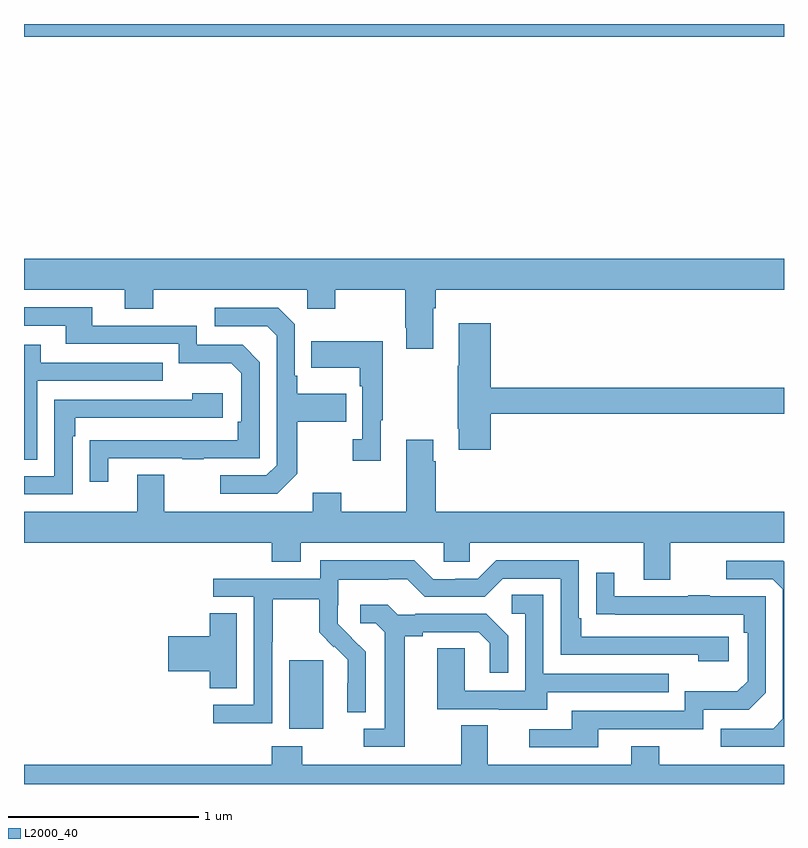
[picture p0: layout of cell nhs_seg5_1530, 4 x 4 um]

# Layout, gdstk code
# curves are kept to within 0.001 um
import gdstk
lib = gdstk.Library(unit=1e-6, precision=1e-09)
def R(c, l, rs):  # rectangles x0, y0, x1, y1
    for r in rs: c.add(gdstk.rectangle(r[:2], r[2:], *l))
def P(c, l, *ps):  # polygons
    for p in ps: c.add(gdstk.Polygon(p, *l))
L2000_40 = (2000, 40)

nhs_seg5_1530 = lib.new_cell('nhs_seg5_1530')
R(nhs_seg5_1530, L2000_40, [(204.395,881.09,204.574,881.451), (203,884.732,207,884.799)])
P(nhs_seg5_1530, L2000_40, [(205.153,883.304),(205.166,883.304),(205.166,883.4),(207,883.4),(207,883.564),(203,883.564),(203,883.4),(203.531,883.4),(203.531,883.301),(203.679,883.301),(203.679,883.4),(204.492,883.4),(204.492,883.301),(204.639,883.301),(204.639,883.4),(205.006,883.4),(205.006,883.201),(205.013,883.201),(205.013,883.089),(205.153,883.089)],
  [(203.443,882.513),(203.833,882.513),(203.833,882.508),(203.945,882.508),(203.945,882.513),(204.24,882.513),(204.24,883.02),(204.15,883.11),(203.91,883.11),(203.91,883.212),(203.359,883.212),(203.359,883.308),(203,883.308),(203,883.212),(203.219,883.212),(203.219,883.116),(203.814,883.116),(203.814,883.013),(204.091,883.013),(204.144,882.96),(204.144,882.706),(204.124,882.706),(204.124,882.609),(203.347,882.608),(203.347,882.39),(203.443,882.39)],
  [(204.439,882.433),(204.439,882.706),(204.695,882.706),(204.695,882.853),(204.439,882.853),(204.439,882.949),(204.426,882.949),(204.426,883.218),(204.339,883.305),(204.003,883.305),(204.003,883.209),(204.279,883.209),(204.33,883.158),(204.33,882.477),(204.276,882.423),(204.033,882.423),(204.033,882.327),(204.333,882.327)],
  [(205.457,882.748),(207,882.748),(207,882.884),(205.457,882.884),(205.457,883.225),(205.289,883.225),(205.289,883.001),(205.282,883.001),(205.282,882.67),(205.289,882.67),(205.289,882.558),(205.457,882.558)],
  [(204.877,882.713),(204.889,882.713),(204.889,883.129),(204.511,883.129),(204.511,882.989),(204.768,882.989),(204.768,882.893),(204.78,882.893),(204.78,882.614),(204.729,882.614),(204.729,882.501),(204.877,882.501)],
  [(203.07,882.921),(203.729,882.921),(203.729,883.017),(203.089,883.017),(203.089,883.111),(203,883.111),(203,882.505),(203.07,882.505)],
  [(203.256,882.629),(203.269,882.629),(203.269,882.726),(204.046,882.726),(204.046,882.856),(203.885,882.856),(203.885,882.822),(203.16,882.822),(203.16,882.42),(203,882.42),(203,882.324),(203.256,882.324)],
  [(206.401,882.068),(207,882.068),(207,882.232),(205.166,882.232),(205.166,882.497),(205.153,882.497),(205.153,882.61),(205.013,882.61),(205.013,882.232),(204.669,882.232),(204.669,882.331),(204.521,882.331),(204.521,882.232),(203.737,882.232),(203.737,882.427),(203.597,882.427),(203.597,882.232),(203,882.232),(203,882.068),(204.305,882.068),(204.305,881.969),(204.457,881.969),(204.457,882.068),(205.209,882.068),(205.209,881.97),(205.347,881.97),(205.347,882.068),(206.261,882.068),(206.261,881.874),(206.401,881.874)],
  [(204.306,881.548),(204.309,881.548),(204.309,881.772),(204.553,881.772),(204.553,881.597),(204.63,881.52),(204.633,881.523),(204.704,881.453),(204.704,881.33),(204.702,881.33),(204.702,881.176),(204.798,881.176),(204.798,881.494),(204.652,881.642),(204.652,881.739),(204.654,881.739),(204.654,881.873),(204.917,881.873),(204.917,881.877),(205.017,881.877),(205.11,881.784),(205.425,881.784),(205.521,881.88),(205.824,881.88),(205.824,881.478),(206.549,881.478),(206.549,881.444),(206.71,881.444),(206.71,881.574),(205.933,881.574),(205.933,881.671),(205.92,881.671),(205.92,881.976),(205.485,881.976),(205.389,881.88),(205.271,881.88),(205.271,881.877),(205.155,881.877),(205.055,881.977),(204.558,881.977),(204.558,881.88),(203.997,881.88),(203.997,881.784),(204.21,881.784),(204.21,881.217),(203.997,881.217),(203.997,881.119),(204.306,881.119)],
  [(207,881.97),(206.997,881.973),(206.697,881.973),(206.697,881.877),(206.94,881.877),(206.994,881.823),(206.994,881.142),(206.943,881.091),(206.667,881.091),(206.667,880.995),(207,880.995)],
  [(206.023,881.088),(206.574,881.088),(206.574,881.19),(206.814,881.19),(206.904,881.28),(206.904,881.787),(206.609,881.787),(206.609,881.792),(206.497,881.792),(206.497,881.787),(206.107,881.787),(206.107,881.911),(206.011,881.911),(206.011,881.692),(206.788,881.691),(206.788,881.594),(206.808,881.594),(206.808,881.34),(206.755,881.287),(206.478,881.287),(206.478,881.184),(205.883,881.184),(205.883,881.088),(205.659,881.088),(205.659,880.992),(206.023,880.992)],
  [(205.753,881.283),(206.393,881.283),(206.393,881.379),(205.734,881.379),(205.734,881.795),(205.566,881.795),(205.566,881.694),(205.638,881.694),(205.638,881.289),(205.32,881.289),(205.32,881.513),(205.175,881.513),(205.175,881.193),(205.499,881.193),(205.499,881.189),(205.753,881.189)],
  [(205.003,881.576),(205.099,881.576),(205.099,881.598),(205.394,881.598),(205.451,881.541),(205.451,881.385),(205.548,881.385),(205.548,881.578),(205.432,881.694),(205.06,881.694),(205.06,881.691),(204.966,881.691),(204.914,881.743),(204.771,881.743),(204.771,881.646),(204.852,881.646),(204.899,881.599),(204.899,881.091),(204.789,881.091),(204.789,880.995),(205.003,880.995)],
  [(204.121,881.699),(203.978,881.699),(203.978,881.576),(203.76,881.576),(203.76,881.393),(203.978,881.393),(203.978,881.302),(204.121,881.302)],
  [(207,880.9),(206.343,880.9),(206.343,880.999),(206.195,880.999),(206.195,880.9),(205.441,880.9),(205.441,881.108),(205.301,881.108),(205.301,880.9),(204.465,880.9),(204.465,880.999),(204.305,880.999),(204.305,880.9),(203,880.9),(203,880.799),(207,880.799)])

lib.write_gds('nhs_seg5_1530.gds')
